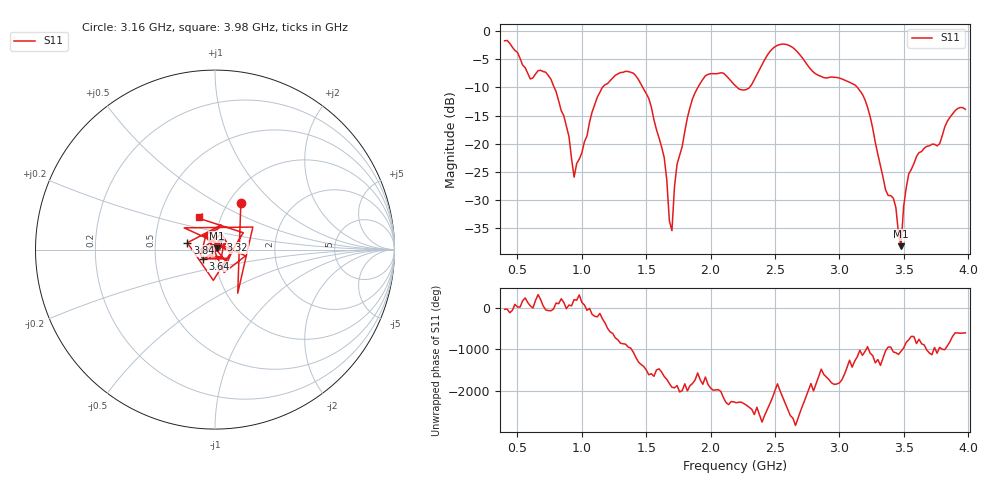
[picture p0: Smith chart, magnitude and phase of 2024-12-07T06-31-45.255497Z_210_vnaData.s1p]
!Created with skrf (http://scikit-rf.org).
# Hz S RI R 50.0
!freq ReS11 ImS11
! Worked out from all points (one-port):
!   180 points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, 400 MHz to 3.98 GHz, reference 50 ohm
!   lowest |S11| = -38.1 dB at 3.48 GHz (marker M1), VSWR 1.03, Z = 51 + j0.733 ohm
!   |S11| at or under -10 dB: 785.1 MHz to 1.159 GHz (374.3 MHz wide, 38.5 % of centre); 1.473 GHz to 1.902 GHz (429.1 MHz wide, 25.4 % of centre); 3.141 GHz to end of sweep (the widest 3 of 4)
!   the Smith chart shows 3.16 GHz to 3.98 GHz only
!   S11 on the Smith chart (normalised r, x): 3.16 GHz: 1.14, +0.65; 3.32 GHz: 1.07, +0.12; 3.64 GHz: 0.87, -0.09; 3.84 GHz: 0.73, +0.06; 3.98 GHz: 0.78, +0.29
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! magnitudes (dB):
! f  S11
! 400 MHz  -1.8
! 600 MHz  -8.5
! 720 MHz  -7.3
! 860 MHz  -15.0
! 940 MHz  -25.9
! 1.12 GHz  -11.8
! 1.3 GHz  -7.4
! 1.52 GHz  -12.0
! 1.64 GHz  -22.4
! 1.68 GHz  -33.6
! 1.7 GHz  -35.4
! 1.72 GHz  -27.6
! 1.76 GHz  -22.0
! 1.86 GHz  -12.0
! 1.96 GHz  -8.0
! 2.2 GHz  -9.9
! 2.64 GHz  -3.0
! 3.1 GHz  -9.3
! 3.16 GHz  -10.6
! 3.32 GHz  -23.9
! 3.44 GHz  -31.3
! 3.48 GHz  -38.1
! 3.5 GHz  -31.1
! 3.54 GHz  -25.3
! 3.64 GHz  -21.4
! 3.78 GHz  -20.0
! 3.84 GHz  -16.0
! 3.98 GHz  -13.9
